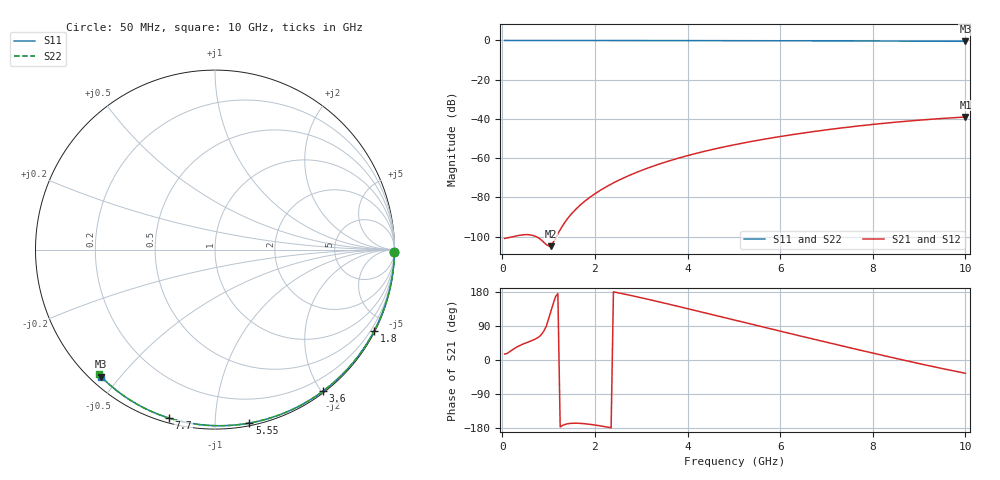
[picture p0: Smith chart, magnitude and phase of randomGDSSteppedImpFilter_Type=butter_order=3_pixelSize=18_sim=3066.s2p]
! freq	dB(S11)	phase(S11)	dB(S12)	phase(S12)
!  dB(S21)	phase(S21)	dB(S22)	phase(S22)
!S-par simulation data
#  GHz  S  DB  R 50
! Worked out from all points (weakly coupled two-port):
!   200 points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, 50 MHz to 10 GHz, reference 50 ohm
!   highest |S21| = -39.00 dB at 10 GHz (marker M1); lowest = -104.8 dB at 1.05 GHz (marker M2)
!   lowest |S11| = -0.4 dB at 10 GHz (marker M3), VSWR 39.67, Z = 1.51 - j22.3 ohm
!   |S11| at or under -10 dB: nowhere
!   |S22| runs from -0.5 to 0.0 dB; largest |S21 - S12| = 0
!   S11 on the Smith chart (normalised r, x): 50 MHz: open; 1.8 GHz: 0.04, -4.17; 3.6 GHz: 0.02, -2.02; 5.55 GHz: 0.02, -1.22; 7.7 GHz: 0.02, -0.76; 10 GHz: 0.03, -0.45
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0.05  -0.00 -0.8  -100.91 15.8  -100.91 15.8  -0.00 -0.8
0.55  -0.01 -8.4  -98.96 47.0  -98.96 47.0  -0.01 -8.4
1.05  -0.02 -15.9  -104.83 129.3  -104.83 129.3  -0.02 -16.0
1.75  -0.03 -26.2  -82.52 -167.8  -82.52 -167.8  -0.03 -26.5
1.8  -0.03 -27.0  -81.56 -168.4  -81.56 -168.4  -0.03 -27.3
1.9  -0.04 -28.5  -79.77 -169.8  -79.77 -169.8  -0.04 -28.7
2.05  -0.04 -30.6  -77.35 -172.5  -77.35 -172.5  -0.04 -31.0
2.25  -0.04 -33.6  -74.50 -176.7  -74.50 -176.7  -0.04 -33.9
2.45  -0.05 -36.5  -71.99 178.6  -71.99 178.6  -0.05 -36.8
2.65  -0.05 -39.3  -69.73 173.6  -69.73 173.6  -0.05 -39.7
3  -0.06 -44.3  -66.28 164.3  -66.28 164.3  -0.06 -44.8
3.4  -0.07 -50.0  -62.90 153.0  -62.90 153.0  -0.07 -50.5
3.6  -0.07 -52.8  -61.40 147.3  -61.40 147.3  -0.07 -53.3
4.3  -0.09 -62.4  -56.88 126.6  -56.88 126.6  -0.09 -63.0
5.05  -0.11 -72.3  -52.97 104.3  -52.97 104.3  -0.11 -73.0
5.55  -0.13 -78.8  -50.75 89.4  -50.75 89.4  -0.13 -79.6
6.1  -0.15 -85.8  -48.59 73.2  -48.59 73.2  -0.15 -86.6
6.7  -0.18 -93.2  -46.50 55.6  -46.50 55.6  -0.18 -94.1
7.7  -0.24 -105.3  -43.55 26.7  -43.55 26.7  -0.24 -106.2
8.35  -0.29 -112.9  -41.96 8.4  -41.96 8.4  -0.29 -113.9
9.15  -0.35 -122.2  -40.34 -13.4  -40.34 -13.4  -0.36 -123.2
10  -0.44 -131.9  -39.00 -35.1  -39.00 -35.1  -0.45 -132.9
